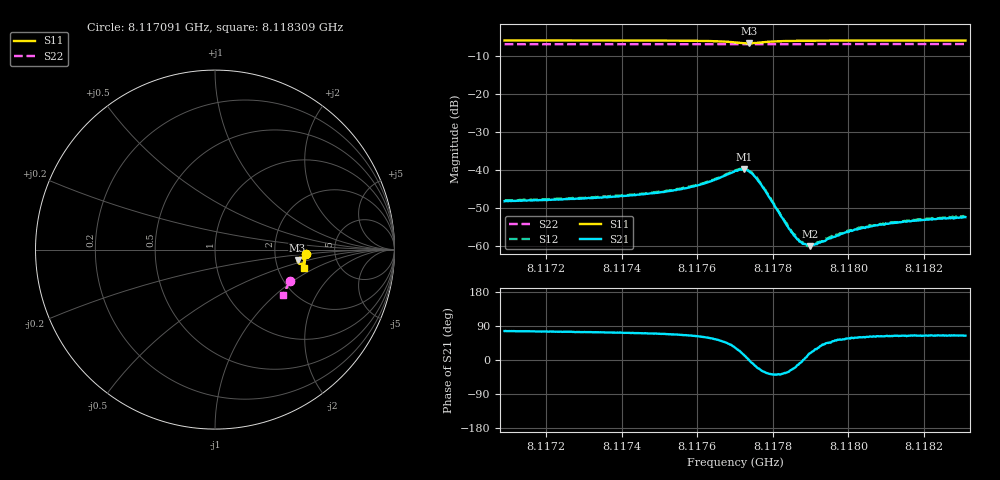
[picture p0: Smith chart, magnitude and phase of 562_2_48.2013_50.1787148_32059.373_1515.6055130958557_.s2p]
#  HZ  S  RI  R  50.00
! Rohde & Schwarz Vector Network Analyzer
! Rohde-Schwarz,ZNB20-2Port,1311601062101988,3.16
! Created: UTC 3/20/2024, 12:01:14 PM
! freq[Hz]  re:S11  im:S11  re:S21  im:S21  re:S12  im:S12  re:S22  im:S22
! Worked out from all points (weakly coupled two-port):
!   401 points, 8.117091 GHz to 8.118309 GHz, reference 50 ohm
!   highest |S21| = -39.85 dB at 8.117724 GHz (marker M1); lowest = -60.0 dB at 8.117898 GHz (marker M2)
!   lowest |S11| = -6.7 dB at 8.117736 GHz (marker M3), VSWR 2.73, Z = 133 - j20.1 ohm
!   |S11| at or under -10 dB: nowhere
!   |S22| runs from -6.9 to -6.8 dB; largest |S21 - S12| = 0.00039
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8.1170907e9  0.5062 -0.0222  0.000914 0.00378  0.000984 0.00388  0.4165 -0.1745
8.1172948e9  0.5047 -0.039  0.00119 0.00402  0.00125 0.00412  0.4113 -0.1879
8.1174989e9  0.5014 -0.0577  0.0018 0.00474  0.00189 0.00482  0.4057 -0.201
8.1175537e9  0.4995 -0.0636  0.0022 0.00511  0.00232 0.00519  0.404 -0.2047
8.1176116e9  0.4953 -0.0714  0.00312 0.00571  0.00321 0.0058  0.4021 -0.2083
8.1176999e9  0.4715 -0.0793  0.0082 0.00526  0.00829 0.00531  0.3983 -0.2138
8.1177243e9  0.4609 -0.0683  0.00994 0.0022  0.0102 0.00221  0.3974 -0.2146
8.1177365e9  0.4603 -0.0591  0.00966 9.78e-05  0.00973 8.87e-05  0.397 -0.2147
8.1177487e9  0.4645 -0.051  0.00845 -0.00157  0.00858 -0.00176  0.3969 -0.2154
8.1177639e9  0.473 -0.0456  0.0064 -0.00272  0.00649 -0.00293  0.397 -0.216
8.117837e9  0.4956 -0.0559  0.00158 -0.00101  0.00167 -0.00105  0.3957 -0.221
8.1178553e9  0.4971 -0.0594  0.00128 -0.000513  0.00132 -0.000548  0.3952 -0.2223
8.1178675e9  0.4977 -0.0613  0.00118 -0.00026  0.00119 -0.000279  0.3946 -0.223
8.1178766e9  0.4981 -0.0627  0.0011 -8.6e-05  0.00115 -7.73e-05  0.3945 -0.2239
8.1178918e9  0.4986 -0.0651  0.00103 0.000211  0.000981 0.000167  0.3939 -0.2248
8.1178979e9  0.4987 -0.0659  0.000948 0.000306  0.000968 0.000268  0.3938 -0.2253
8.117904e9  0.4989 -0.0668  0.000965 0.000394  0.000966 0.000389  0.3935 -0.2256
8.1179984e9  0.499 -0.0778  0.000829 0.00127  0.000891 0.00133  0.3905 -0.2317
8.1180289e9  0.4989 -0.0807  0.000841 0.00146  0.000883 0.00152  0.3896 -0.2336
8.1181081e9  0.4978 -0.088  0.000889 0.00177  0.000916 0.00183  0.3868 -0.2384
8.1182147e9  0.4962 -0.097  0.000968 0.00201  0.000972 0.00208  0.383 -0.245
8.1183091e9  0.4948 -0.1046  0.00104 0.00216  0.00107 0.00215  0.3797 -0.2506
